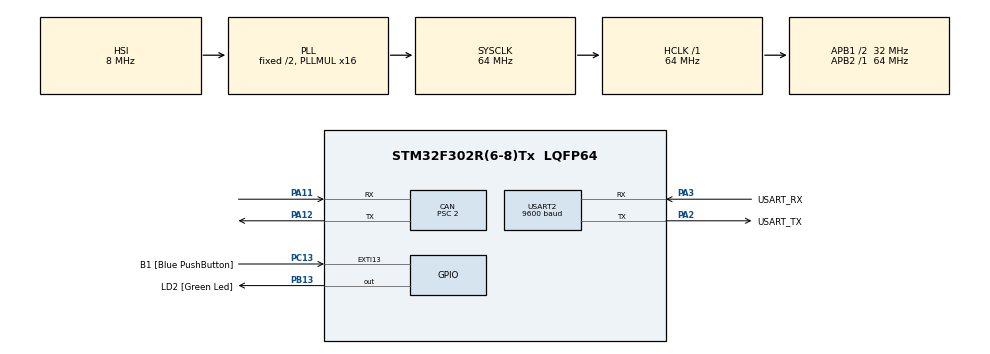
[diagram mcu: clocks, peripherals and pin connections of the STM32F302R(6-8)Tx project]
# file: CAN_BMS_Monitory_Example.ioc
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CAN.BS1=CAN_BS1_13TQ
CAN.BS2=CAN_BS2_2TQ
CAN.CalculateBaudRate=1000000
CAN.CalculateTimeBit=1000
CAN.CalculateTimeQuantum=62.5
CAN.Mode=CAN_MODE_NORMAL
CAN.Prescaler=2
Mcu.Family=STM32F3
Mcu.Name=STM32F302R(6-8)Tx
Mcu.Package=LQFP64
NVIC.CAN_RX1_IRQn=true\:1\:0\:true\:false\:true\:true\:true
NVIC.EXTI15_10_IRQn=true\:1\:0\:true\:false\:true\:true\:true
NVIC.PriorityGroup=NVIC_PRIORITYGROUP_4
NVIC.RCC_IRQn=true\:1\:0\:true\:false\:true\:true\:false
NVIC.USB_LP_CAN_RX0_IRQn=true\:1\:0\:true\:false\:true\:true\:true
PA11.GPIO_PuPd=GPIO_NOPULL
PA11.Mode=CAN_Activate
PA11.Signal=CAN_RX
PA12.GPIO_PuPd=GPIO_NOPULL
PA12.Mode=CAN_Activate
PA12.Signal=CAN_TX
PA13.GPIO_Label=TMS
PA13.Mode=Serial_Wire
PA13.Signal=SYS_JTMS-SWDIO
PA14.GPIO_Label=TCK
PA14.Mode=Serial_Wire
PA14.Signal=SYS_JTCK-SWCLK
PA2.GPIO_Label=USART_TX
PA2.GPIO_Mode=GPIO_MODE_AF_PP
PA2.GPIO_PuPd=GPIO_NOPULL
PA2.GPIO_Speed=GPIO_SPEED_FREQ_LOW
PA2.Mode=Asynchronous
PA2.Signal=USART2_TX
PA3.GPIO_Label=USART_RX
PA3.GPIO_Mode=GPIO_MODE_AF_PP
PA3.GPIO_PuPd=GPIO_NOPULL
PA3.GPIO_Speed=GPIO_SPEED_FREQ_LOW
PA3.Mode=Asynchronous
PA3.Signal=USART2_RX
PB13.GPIO_Label=LD2 [Green Led]
PB13.Signal=GPIO_Output
PB3.GPIO_Label=SWO
PB3.Mode=Trace_Asynchronous_SW
PB3.Signal=SYS_JTDO-TRACESWO
PC13.GPIO_Label=B1 [Blue PushButton]
PC13.GPIO_ModeDefaultEXTI=GPIO_MODE_IT_FALLING
PC13.Signal=GPXTI13
PC14\ -\ OSC32_IN.Mode=LSE-External-Oscillator
PC14\ -\ OSC32_IN.Signal=RCC_OSC32_IN
PC15\ -\ OSC32_OUT.Mode=LSE-External-Oscillator
PC15\ -\ OSC32_OUT.Signal=RCC_OSC32_OUT
PF0-OSC_IN.Mode=HSE-External-Clock-Source
PF0-OSC_IN.Signal=RCC_OSC_IN
PF1-OSC_OUT.Signal=RCC_OSC_OUT
ProjectManager.HeapSize=0x200
ProjectManager.StackSize=0x400
ProjectManager.TargetToolchain=STM32CubeIDE
RCC.AHBFreq_Value=64000000
RCC.APB1CLKDivider=RCC_HCLK_DIV2
RCC.APB1Freq_Value=32000000
RCC.APB1TimFreq_Value=64000000
RCC.APB2Freq_Value=64000000
RCC.APB2TimFreq_Value=64000000
RCC.CortexFreq_Value=64000000
RCC.HCLKFreq_Value=64000000
RCC.HSE_VALUE=8000000
RCC.HSI_VALUE=8000000
RCC.PLLM=8
RCC.PLLMUL=RCC_PLL_MUL16
RCC.PLLN=336
RCC.PLLP=RCC_PLLP_DIV4
RCC.PLLQ=7
RCC.SYSCLKFreq_VALUE=64000000
RCC.SYSCLKSourceVirtual=RCC_SYSCLKSOURCE_PLLCLK
RCC.USBFreq_Value=64000000
USART2.BaudRate=9600
USART2.VirtualMode-Asynchronous=VM_ASYNC
board=NUCLEO-F302R8

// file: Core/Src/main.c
/* USER CODE BEGIN Header */
/**
  ******************************************************************************
  * @file           : main.c
  * @brief          : Main program body
  ******************************************************************************
  * @attention
  *
  * <h2><center>&copy; Copyright (c) 2021 STMicroelectronics.
  * All rights reserved.</center></h2>
  *
  * This software component is licensed by ST under BSD 3-Clause license,
  * the "License"; You may not use this file except in compliance with the
  * License. You may obtain a copy of the License at:
  *                        opensource.org/licenses/BSD-3-Clause
  *
  ******************************************************************************
  */
/* USER CODE END Header */
#include "main.h"

/* USER CODE BEGIN Includes */
#include <stdio.h>
#include <string.h>
#include <inttypes.h>
/* USER CODE END Includes */

/* USER CODE BEGIN PD */
#define BOARD1 1  // comment out this line when compiling for board #2
#if defined(BOARD1)
    const uint32_t NODEID     = 0x123;   // node 1
    const uint32_t FILTERID   = 0x111;   // voltage
    const uint32_t FILTERMASK = 0;       // not used
#else
    const uint32_t NODEID     = 0x124;   // node 2
    const uint32_t FILTERID   = 0x112;   // Current
    const uint32_t FILTERMASK = 0x113;   // Temperature
#endif

/* USER CODE END PD */

CAN_HandleTypeDef hcan;

UART_HandleTypeDef huart2;

/* USER CODE BEGIN PV */
/* Private variables ---------------------------------------------------------*/
/*CAN_FilterTypeDef sFilterConfig;
CAN_TxHeaderTypeDef TxHeader;
CAN_RxHeaderTypeDef RxHeader;
uint8_t TxData[8];
uint8_t RxData[8];
uint32_t TxMailbox;*/

/* USER CODE END PV */

void SystemClock_Config(void);
static void MX_GPIO_Init(void);
static void MX_USART2_UART_Init(void);
static void MX_CAN_Init(void);
/* USER CODE BEGIN PFP */
void debugPrint(UART_HandleTypeDef *huart, char _out[]);
void debugPrintln(UART_HandleTypeDef *huart, char _out[]);
void PrintlnEightBit(UART_HandleTypeDef *huart,uint8_t TxData[]);
void UnderVoltageError();

/* USER CODE END PFP */

/* USER CODE BEGIN 0 */
	CAN_TxHeaderTypeDef TxHeader;  // CAN Tx message header structure
	CAN_RxHeaderTypeDef RxHeader;  // CAN Rx message header structure

	uint32_t TxMailbox;			   // Mailbox where Tx message is stored

	uint8_t TxData[8];			   // Vector that will contain data to be transmitted
	uint8_t RxData[8];             // Vector that will contain data received
	uint8_t count = 1;             // Simple counter used for debugging

	// User button callback
	void HAL_GPIO_EXTI_Callback(uint16_t GPIO_Pin){
		if(GPIO_Pin == B1_Pin)
		    {
			HAL_GPIO_WritePin(GPIOB, LD2_Pin,GPIO_PIN_SET); // set on The Output (LED) Pin

		    //now send can message
		    TxData[0] = count;
		    if (HAL_CAN_AddTxMessage(&hcan, &TxHeader, TxData, &TxMailbox) != HAL_OK)
		          {
		        	  Error_Handler();
		          }
		    count++;

		    debugPrintln(&huart2, "Some data has been sent:");
		    PrintlnEightBit(&huart2, TxData);
		    debugPrintln(&huart2, "\r\n************************************");
		    HAL_Delay(500); //debouncing
		    HAL_GPIO_WritePin(GPIOB, LD2_Pin,GPIO_PIN_RESET); // set off The Output (LED) Pin

		    }
	}

	// CAN Rx callback
	void HAL_CAN_RxFifo0MsgPendingCallback(CAN_HandleTypeDef *hcan)
	{
		char temp_string[16]; //temporaney 15 character string to print numerical values
		HAL_CAN_GetRxMessage(hcan, CAN_RX_FIFO0, &RxHeader, RxData);
		debugPrintln(&huart2, "Some data has been received:");
		PrintlnEightBit(&huart2, RxData);
		#if defined(BOARD1)
		/* BEGIN node 1 code */
		if (RxHeader.StdId==0x111){    //voltages
			float mult_factor_v = 1000;
			float voltage[4];
			for (int i=0 ; i<=3 ; i++){
				voltage[i] = (RxData[i*2+1]<<8|RxData[i*2])/mult_factor_v;
				debugPrint(&huart2, "Battery Voltage [");
				sprintf(temp_string,"%d", i);
				debugPrint(&huart2, temp_string);
				debugPrint(&huart2, "] = ");
				sprintf(temp_string,"%.3f", voltage[i]);
				debugPrint(&huart2, temp_string);
				debugPrintln(&huart2, " V");
				if (voltage[i]<=2.2){
					UnderVoltageError();
				}
			}
		}
		/* END   node 1 code */
		#else
		/* BEGIN node 2 code */
		if (RxHeader.StdId==0x112){    //current
			float mult_factor_I = 10;
			float current = (RxData[1]<<8|RxData[0])/mult_factor_I;
			debugPrint(&huart2, "Current = ");
			sprintf(temp_string,"%.3f", current);
			debugPrint(&huart2, temp_string);
			debugPrintln(&huart2, " A");
		}
		if (RxHeader.StdId==0x113){    //temperature
			float mult_factor_T = 100;
			float temperature = (RxData[1]<<8|RxData[0])/mult_factor_T;
			debugPrint(&huart2, "Temperature = ");
			sprintf(temp_string,"%.3f", temperature);
			debugPrint(&huart2, temp_string);
			debugPrintln(&huart2, " deg");
		}

		/* END   node 2 code */
		#endif
		// print the id
		debugPrint(&huart2, "From NODEID:0x");
		sprintf(&temp_string[0],"%lx", RxHeader.StdId);
		debugPrintln(&huart2, temp_string);
		debugPrintln(&huart2, "************************************");

	}
/* USER CODE END 0 */

int main(void)
{

  /* MCU Configuration--------------------------------------------------------*/

  /* Reset of all peripherals, Initializes the Flash interface and the Systick. */
  HAL_Init();

  /* Configure the system clock */
  SystemClock_Config();

  /* Initialize all configured peripherals */
  MX_GPIO_Init();
  MX_USART2_UART_Init();
  MX_CAN_Init();
  /* USER CODE BEGIN 2 */
  if (HAL_CAN_Start(&hcan) != HAL_OK)        // start can pheriperal
        {
      	  Error_Handler();
        }
    HAL_CAN_ActivateNotification(&hcan, CAN_IT_RX_FIFO0_MSG_PENDING);

  	TxHeader.DLC = 8;                        // Can data lenght (8 byte)
    TxHeader.IDE = CAN_ID_STD;               // Id lenght       (standard 11 bit)
    TxHeader.RTR = CAN_RTR_DATA;             // Type of frame   (Data frame)
    TxHeader.StdId = NODEID;				 // Can id          (0x123 or 0x124)
    TxHeader.ExtId = 0;                      // Extended id     (not used)
    TxHeader.TransmitGlobalTime = DISABLE;   //                 (disabled)

    // some random data to be send
    TxData[0] = 0x01;
    TxData[1] = 0x02;
    TxData[2] = 0x03;
    TxData[3] = 0x04;

    // first interaction between node and pc
    char NODEIDstr[4];
    debugPrintln(&huart2, "************************************");
    debugPrintln(&huart2, "*This node is turning on correctly!*");
    debugPrint(&huart2, "* node ID: ");
    sprintf(&NODEIDstr[0],"%lx", NODEID);
    debugPrint(&huart2, "0x");
    debugPrintln(&huart2, NODEIDstr);
    debugPrintln(&huart2, "************************************");
  /* USER CODE END 2 */

  /* Infinite loop */
  while (1)
  {

  }
}

void SystemClock_Config(void)
{
  RCC_OscInitTypeDef RCC_OscInitStruct = {0};
  RCC_ClkInitTypeDef RCC_ClkInitStruct = {0};

  /** Initializes the RCC Oscillators according to the specified parameters
  * in the RCC_OscInitTypeDef structure.
  */
  RCC_OscInitStruct.OscillatorType = RCC_OSCILLATORTYPE_HSI;
  RCC_OscInitStruct.HSIState = RCC_HSI_ON;
  RCC_OscInitStruct.HSICalibrationValue = RCC_HSICALIBRATION_DEFAULT;
  RCC_OscInitStruct.PLL.PLLState = RCC_PLL_ON;
  RCC_OscInitStruct.PLL.PLLSource = RCC_PLLSOURCE_HSI;
  RCC_OscInitStruct.PLL.PLLMUL = RCC_PLL_MUL16;
  if (HAL_RCC_OscConfig(&RCC_OscInitStruct) != HAL_OK)
  {
    Error_Handler();
  }
  /** Initializes the CPU, AHB and APB buses clocks
  */
  RCC_ClkInitStruct.ClockType = RCC_CLOCKTYPE_HCLK|RCC_CLOCKTYPE_SYSCLK
                              |RCC_CLOCKTYPE_PCLK1|RCC_CLOCKTYPE_PCLK2;
  RCC_ClkInitStruct.SYSCLKSource = RCC_SYSCLKSOURCE_PLLCLK;
  RCC_ClkInitStruct.AHBCLKDivider = RCC_SYSCLK_DIV1;
  RCC_ClkInitStruct.APB1CLKDivider = RCC_HCLK_DIV2;
  RCC_ClkInitStruct.APB2CLKDivider = RCC_HCLK_DIV1;

  if (HAL_RCC_ClockConfig(&RCC_ClkInitStruct, FLASH_LATENCY_2) != HAL_OK)
  {
    Error_Handler();
  }
}

static void MX_CAN_Init(void)
{

  hcan.Instance = CAN;
  hcan.Init.Prescaler = 2;
  hcan.Init.Mode = CAN_MODE_NORMAL;
  hcan.Init.SyncJumpWidth = CAN_SJW_1TQ;
  hcan.Init.TimeSeg1 = CAN_BS1_13TQ;
  hcan.Init.TimeSeg2 = CAN_BS2_2TQ;
  hcan.Init.TimeTriggeredMode = DISABLE;
  hcan.Init.AutoBusOff = DISABLE;
  hcan.Init.AutoWakeUp = DISABLE;
  hcan.Init.AutoRetransmission = DISABLE;
  hcan.Init.ReceiveFifoLocked = DISABLE;
  hcan.Init.TransmitFifoPriority = DISABLE;
  if (HAL_CAN_Init(&hcan) != HAL_OK)
  {
    Error_Handler();
  }
  /* USER CODE BEGIN CAN_Init 2 */
  CAN_FilterTypeDef canfilterconfig;

    canfilterconfig.FilterActivation = CAN_FILTER_ENABLE;  // Enale can filtering
    canfilterconfig.FilterBank = 0;                        // Anything between 0 to SlaveStartFilterBank
    canfilterconfig.FilterFIFOAssignment = CAN_RX_FIFO0;   // Filter bank to be initialized
    canfilterconfig.FilterIdHigh = FILTERID <<5;           // Standard ID accepted (#1)
    canfilterconfig.FilterIdLow = 0x0;                     // Extended part of ID (not used)
    canfilterconfig.FilterMaskIdHigh = FILTERMASK <<5;     // Standard ID accepted (#2)
    canfilterconfig.FilterMaskIdLow = 0x0;	               // Extended part of ID (not used)
    canfilterconfig.FilterMode = CAN_FILTERMODE_IDLIST;    // Specify filter mode
    canfilterconfig.FilterScale = CAN_FILTERSCALE_32BIT;   // Filter dimension
    canfilterconfig.SlaveStartFilterBank = 0  ; 		   // Not important

    HAL_CAN_ConfigFilter(&hcan, &canfilterconfig);	       // Initialize the filter

  /* USER CODE END CAN_Init 2 */

}

static void MX_USART2_UART_Init(void)
{

  huart2.Instance = USART2;
  huart2.Init.BaudRate = 9600;
  huart2.Init.WordLength = UART_WORDLENGTH_8B;
  huart2.Init.StopBits = UART_STOPBITS_1;
  huart2.Init.Parity = UART_PARITY_NONE;
  huart2.Init.Mode = UART_MODE_TX_RX;
  huart2.Init.HwFlowCtl = UART_HWCONTROL_NONE;
  huart2.Init.OverSampling = UART_OVERSAMPLING_16;
  huart2.Init.OneBitSampling = UART_ONE_BIT_SAMPLE_DISABLE;
  huart2.AdvancedInit.AdvFeatureInit = UART_ADVFEATURE_NO_INIT;
  if (HAL_UART_Init(&huart2) != HAL_OK)
  {
    Error_Handler();
  }

}

static void MX_GPIO_Init(void)
{
  GPIO_InitTypeDef GPIO_InitStruct = {0};

  /* GPIO Ports Clock Enable */
  __HAL_RCC_GPIOC_CLK_ENABLE();
  __HAL_RCC_GPIOF_CLK_ENABLE();
  __HAL_RCC_GPIOA_CLK_ENABLE();
  __HAL_RCC_GPIOB_CLK_ENABLE();

  /*Configure GPIO pin Output Level */
  HAL_GPIO_WritePin(LD2_GPIO_Port, LD2_Pin, GPIO_PIN_RESET);

  /*Configure GPIO pin : B1_Pin */
  GPIO_InitStruct.Pin = B1_Pin;
  GPIO_InitStruct.Mode = GPIO_MODE_IT_FALLING;
  GPIO_InitStruct.Pull = GPIO_NOPULL;
  HAL_GPIO_Init(B1_GPIO_Port, &GPIO_InitStruct);

  /*Configure GPIO pin : LD2_Pin */
  GPIO_InitStruct.Pin = LD2_Pin;
  GPIO_InitStruct.Mode = GPIO_MODE_OUTPUT_PP;
  GPIO_InitStruct.Pull = GPIO_NOPULL;
  GPIO_InitStruct.Speed = GPIO_SPEED_FREQ_LOW;
  HAL_GPIO_Init(LD2_GPIO_Port, &GPIO_InitStruct);

  /* EXTI interrupt init*/
  HAL_NVIC_SetPriority(EXTI15_10_IRQn, 1, 0);
  HAL_NVIC_EnableIRQ(EXTI15_10_IRQn);

}

/* USER CODE BEGIN 4 */
//normal print
void debugPrint(UART_HandleTypeDef *huart, char _out[]){
 HAL_UART_Transmit(huart, (uint8_t *) _out, strlen(_out), 100);
}

//print with newline
void debugPrintln(UART_HandleTypeDef *huart, char _out[]){
 HAL_UART_Transmit(huart, (uint8_t *) _out, strlen(_out), 100);
 char newline[2] = "\r\n";
 HAL_UART_Transmit(huart, (uint8_t *) newline, 2, 10);
}

//print a vector of 8 uint8_t numbers
void PrintlnEightBit(UART_HandleTypeDef *huart,uint8_t TxData[]){
	char string[(8*4+1)];
	    for (int i = 0; i<8; i++){
		    sprintf(&string[(i*4)],"%04d",TxData[i]);
	        string[(i*4)]=' ';
	    }
	string[8*4+1] = '\0';

    HAL_UART_Transmit(huart, (uint8_t *) string, strlen(string), 100);
    char newline[2] = "\r\n";
    HAL_UART_Transmit(huart, (uint8_t *) newline, 2, 10);
}

void UnderVoltageError(){
	unsigned char ERRORMSG[8] = "ERROR";
	debugPrintln(&huart2, "");
	debugPrintln(&huart2, "****************************************");
	debugPrintln(&huart2, "* An error has occurred!: UNDERVOLTAGE *");
	debugPrintln(&huart2, "* execution has stopped, shooting down *");
	debugPrintln(&huart2, "****************************************");
	if (HAL_CAN_AddTxMessage(&hcan, &TxHeader, ERRORMSG, &TxMailbox) != HAL_OK)
		  {
			  Error_Handler();
		  }
	while(1){
		HAL_GPIO_TogglePin(GPIOB, LD2_Pin);
		HAL_Delay(100);
	}
}

/* USER CODE END 4 */

void Error_Handler(void)
{
  /* USER CODE BEGIN Error_Handler_Debug */
  /* User can add his own implementation to report the HAL error return state */
  HAL_GPIO_WritePin(GPIOB, LD2_Pin,GPIO_PIN_SET);
  __disable_irq();
  while (1)
  {
  }
  /* USER CODE END Error_Handler_Debug */
}
